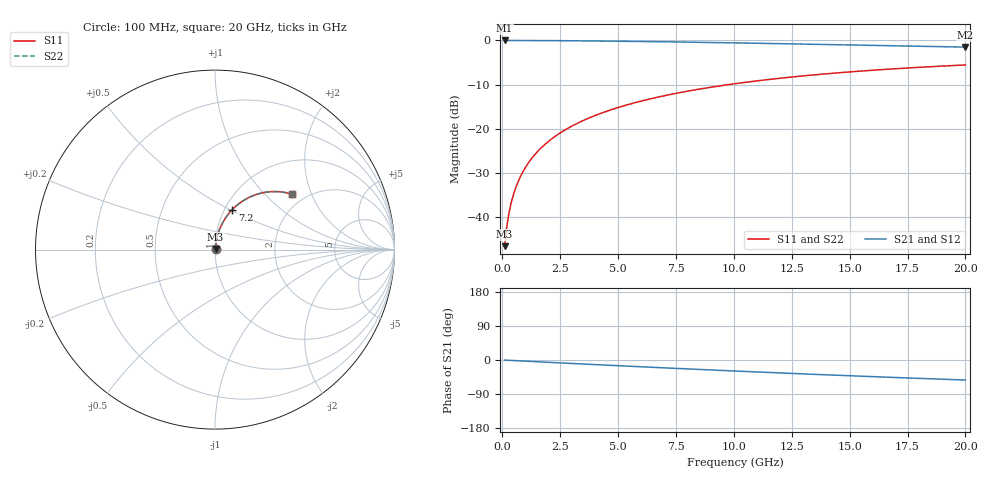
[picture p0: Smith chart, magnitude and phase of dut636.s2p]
! Touchstone file exported from HFSS 2026.1.0
!  File:  C:/ffzhzh/LocalFiles/Ansys_Project_Files/temp_train_TMRDL_636_1783009286_4048.aedt
!  Generated:  12:23:06 AM Jul  3, 2026
!  Design:  TMRDL
!  Project:  temp_train_TMRDL_636_1783009286_4048
! Variables:
!  h_bsmrdl = 2um
!  h_ox = 20um
!  h_rdl = 5um
!  h_sub = 80um
!  h_tmrdl = 5.72um
!  h_tsv = 80um
!  h_via = 3um
!  l_bsmrdl = 300um
!  l_sub = 1167.35um
!  l_tmrdl = 767.35um
!  m_sub = 200um
!  pitch = 57.95um
!  r_tsv = 6um
!  s_tmrdl = 10um
!  w_bsmrdl = 18um
!  w_sub = 500um
!  w_tmrdl = 17.58um
!  x_tsv_center1 = 776.14um
!  x_tsv_center2 = 1094.14um
!  x_tsv_center3 = 1879.07um
!  x_tsv_center4 = 2197.07um
!  x_tsv_center5 = 2982um
!  x_tsv_center6 = 3300um
# GHz S MA R 50.000000
! Terminal data exported
! Port[1] = TM_RDL1_1_T1
! Port[2] = TM_RDL1_1_T2
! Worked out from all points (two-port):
!   200 points, 100 MHz to 20 GHz, reference 50 ohm
!   highest |S21| = -0.02 dB at 100 MHz (marker M1); lowest = -1.5 dB at 20 GHz (marker M2)
!   |S21| within 3 dB of the highest: start of sweep to end of sweep
!   lowest |S11| = -46.5 dB at 100 MHz (marker M3), VSWR 1.01, Z = 50.3 + j0.381 ohm
!   |S11| at or under -10 dB: start of sweep to 9.772 GHz
!   |S22| runs from -46.5 to -5.6 dB; largest |S21 - S12| = 9.5e-15
!   S11 on the Smith chart (normalised r, x): 100 MHz: 1.01, +0.01; 7.2 GHz: 1.09, +0.51; 20 GHz: 1.70, +1.46
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0.1  0.004719 53.3  0.9972 -0.3  0.9972 -0.3  0.004719 53.3
! Gamma 0 0 0 0
! Port Impedance 50 0 50 0
0.2  0.008073 68.2  0.9971 -0.6  0.9971 -0.6  0.008073 68.2
0.3  0.01159 73.9  0.9969 -0.9  0.9969 -0.9  0.01159 73.9
0.4  0.01515 76.8  0.9968 -1.3  0.9968 -1.3  0.01515 76.8
0.5  0.01871 78.6  0.9966 -1.6  0.9966 -1.6  0.01871 78.6
0.7  0.02587 80.4  0.9964 -2.2  0.9964 -2.2  0.02587 80.4
0.8  0.02946 80.9  0.9962 -2.5  0.9962 -2.5  0.02946 80.9
1  0.03664 81.4  0.9958 -3.1  0.9958 -3.1  0.03664 81.4
1.4  0.05098 81.4  0.9949 -4.3  0.9949 -4.3  0.05098 81.4
1.7  0.06168 81.0  0.9941 -5.2  0.9941 -5.2  0.06168 81.0
2  0.07231 80.4  0.9931 -6.2  0.9931 -6.2  0.07231 80.4
2.7  0.09683 78.8  0.9903 -8.3  0.9903 -8.3  0.09683 78.8
3.5  0.1243 76.7  0.9865 -10.7  0.9865 -10.7  0.1243 76.7
4.2  0.1478 74.8  0.9826 -12.7  0.9826 -12.7  0.1478 74.8
5  0.174 72.6  0.9776 -15.1  0.9776 -15.1  0.174 72.6
6.8  0.2307 67.7  0.9646 -20.2  0.9646 -20.2  0.2307 67.7
7.2  0.2428 66.6  0.9614 -21.3  0.9614 -21.3  0.2428 66.6
8.6  0.2837 62.9  0.9496 -25.2  0.9496 -25.2  0.2837 62.9
10.1  0.325 59.0  0.9358 -29.3  0.9358 -29.3  0.325 59.0
13.4  0.4058 50.8  0.9032 -37.7  0.9032 -37.7  0.4058 50.8
16.7  0.4728 43.1  0.87 -45.6  0.87 -45.6  0.4728 43.1
20  0.5269 36.0  0.8387 -52.9  0.8387 -52.9  0.5269 35.9
